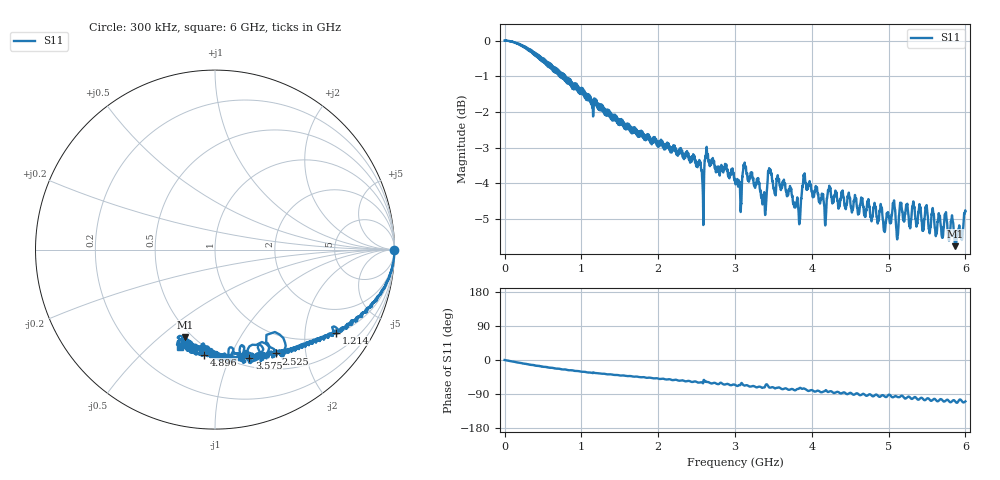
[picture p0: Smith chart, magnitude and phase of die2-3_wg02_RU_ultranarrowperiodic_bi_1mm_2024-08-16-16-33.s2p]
!Keysight Technologies,P9374A,MY57304198,A.17.20.09
!Date: Friday, August 16, 2024 16:33:33
!Correction: S11(C  1-Port  )
!S21(C  1-Port  )
!S12(Off)
!S22(Off)
!S2P File: Measurements: S11, S21, S12, S22:
# Hz S  dB  R 50
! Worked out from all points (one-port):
!   6000 points, 300 kHz to 6 GHz, reference 50 ohm
!   lowest |S11| = -5.8 dB at 5.866 GHz (marker M1), VSWR 3.12, Z = 23 - j30.6 ohm
!   |S11| at or under -10 dB: nowhere
!   S11 on the Smith chart (normalised r, x): 300 kHz: open; 1.214 GHz: 1.04, -2.88; 2.525 GHz: 0.71, -1.50; 3.575 GHz: 0.59, -1.19; 4.896 GHz: 0.44, -0.80; 6 GHz: 0.39, -0.64
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300000  -0.00 -0.0  -200.00 45.0  -200.00 45.0  -200.00 45.0
5.003583e8  -0.50 -17.4  -200.00 45.0  -200.00 45.0  -200.00 45.0
1.000417e9  -1.45 -30.8  -200.00 45.0  -200.00 45.0  -200.00 45.0
1.214442e9  -1.76 -34.5  -200.00 45.0  -200.00 45.0  -200.00 45.0
2.000533e9  -2.95 -49.1  -200.00 45.0  -200.00 45.0  -200.00 45.0
2.524595e9  -3.48 -59.7  -200.00 45.0  -200.00 45.0  -200.00 45.0
2.582601e9  -4.33 -61.5  -200.00 45.0  -200.00 45.0  -200.00 45.0
2.623606e9  -3.13 -56.5  -200.00 45.0  -200.00 45.0  -200.00 45.0
3.00065e9  -3.95 -65.7  -200.00 45.0  -200.00 45.0  -200.00 45.0
3.107663e9  -3.60 -65.9  -200.00 45.0  -200.00 45.0  -200.00 45.0
3.292684e9  -3.94 -71.7  -200.00 45.0  -200.00 45.0  -200.00 45.0
3.388695e9  -4.74 -71.4  -200.00 45.0  -200.00 45.0  -200.00 45.0
3.456703e9  -3.69 -73.2  -200.00 45.0  -200.00 45.0  -200.00 45.0
3.574717e9  -3.94 -72.4  -200.00 45.0  -200.00 45.0  -200.00 45.0
3.77574e9  -4.66 -79.9  -200.00 45.0  -200.00 45.0  -200.00 45.0
3.828747e9  -4.82 -76.2  -200.00 45.0  -200.00 45.0  -200.00 45.0
3.899755e9  -3.76 -75.1  -200.00 45.0  -200.00 45.0  -200.00 45.0
4.000767e9  -4.25 -79.3  -200.00 45.0  -200.00 45.0  -200.00 45.0
4.895871e9  -4.61 -96.1  -200.00 45.0  -200.00 45.0  -200.00 45.0
5.000883e9  -4.96 -91.8  -200.00 45.0  -200.00 45.0  -200.00 45.0
5.865984e9  -5.77 -108.7  -200.00 45.0  -200.00 45.0  -200.00 45.0
6e9  -4.79 -109.1  -200.00 45.0  -200.00 45.0  -200.00 45.0
